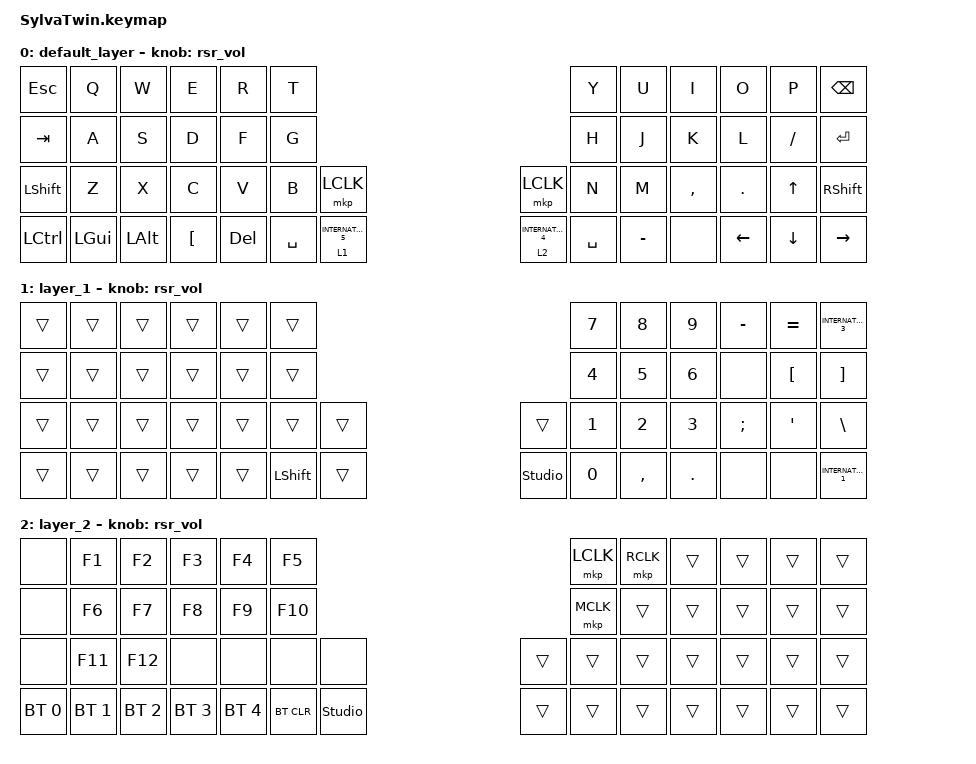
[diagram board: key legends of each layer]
/*
 * Copyright (c) 2020 The ZMK Contributors
 *
 * SPDX-License-Identifier: MIT
 */

#include <behaviors.dtsi>
#include <dt-bindings/zmk/bt.h>
#include <dt-bindings/zmk/keys.h>
#include <dt-bindings/zmk/pointing.h>
#include <input/processors/runtime-input-processor.dtsi>
#include <behaviors/runtime-sensor-rotate.dtsi>

/ {
    behaviors {
        rsr_vol: rsr_vol {
            compatible = "zmk,behavior-runtime-sensor-rotate";
            #sensor-binding-cells = <0>;
            tap-ms = <5>;
            cw-binding = <&kp C_VOL_UP>;
            ccw-binding = <&kp C_VOL_DN>;
        };
    };

    combos {
        compatible = "zmk,combos";

        prtsc {
            bindings = <&kp PRINTSCREEN>;
            key-positions = <10 11>;
        };

        RightClick {
            bindings = <&mkp RCLK>;
            key-positions = <30 44>;
        };

        MiddleClick {
            bindings = <&mkp MCLK>;
            key-positions = <29 43>;
        };

        RightClick2 {
            bindings = <&mkp RCLK>;
            key-positions = <31 45>;
        };

        MiddleClick2 {
            bindings = <&mkp MCLK>;
            key-positions = <32 46>;
        };

        zen-han {
            bindings = <&kp GRAVE>;
            key-positions = <0 1>;
        };

        paste {
            bindings = <&kp LC(V)>;
            key-positions = <42 28>;
        };

        copy {
            bindings = <&kp LC(C)>;
            key-positions = <41 27>;
        };

        cut {
            bindings = <&kp LC(X)>;
            key-positions = <40 26>;
        };

        prev_click {
            bindings = <&mkp MB4>;
            key-positions = <29 30>;
        };
    };

    keymap {
        compatible = "zmk,keymap";

        default_layer {
            bindings = <
&kp ESC     &kp Q     &kp W     &kp E     &kp R    &kp T                                                    &kp Y      &kp U      &kp I      &kp O     &kp P      &kp BSPC
&kp TAB     &kp A     &kp S     &kp D     &kp F    &kp G                                                    &kp H      &kp J      &kp K      &kp L     &kp SLASH  &kp ENTER
&kp LSHIFT  &kp Z     &kp X     &kp C     &kp V    &kp B      &mkp LCLK              &mkp LCLK              &kp N      &kp M      &kp COMMA  &kp DOT   &kp UP     &kp RSHIFT
&kp LCTRL   &kp LGUI  &kp LALT  &kp LBKT  &kp DEL  &kp SPACE  &lt 1 INTERNATIONAL_5  &lt 2 INTERNATIONAL_4  &kp SPACE  &kp MINUS  &none      &kp LEFT  &kp DOWN   &kp RIGHT
            >;

            sensor-bindings = <&rsr_vol>;
        };

        layer_1 {
            bindings = <
&trans  &trans  &trans  &trans  &trans  &trans                                  &kp NUMBER_7  &kp NUMBER_8  &kp NUMBER_9  &kp MINUS      &kp EQUAL         &kp INTERNATIONAL_3
&trans  &trans  &trans  &trans  &trans  &trans                                  &kp NUMBER_4  &kp NUMBER_5  &kp NUMBER_6  &none          &kp LEFT_BRACKET  &kp RIGHT_BRACKET
&trans  &trans  &trans  &trans  &trans  &trans          &trans  &trans          &kp NUMBER_1  &kp NUMBER_2  &kp NUMBER_3  &kp SEMICOLON  &kp SINGLE_QUOTE  &kp BSLH
&trans  &trans  &trans  &trans  &trans  &kp LEFT_SHIFT  &trans  &studio_unlock  &kp NUMBER_0  &kp COMMA     &kp DOT       &none          &none             &kp INTERNATIONAL_1
            >;

            sensor-bindings = <&rsr_vol>;
        };

        layer_2 {
            bindings = <
&none         &kp F1        &kp F2        &kp F3        &kp F4        &kp F5                              &mkp LCLK  &mkp RCLK  &trans  &trans  &trans  &trans
&none         &kp F6        &kp F7        &kp F8        &kp F9        &kp F10                             &mkp MCLK  &trans     &trans  &trans  &trans  &trans
&none         &kp F11       &kp F12       &none         &none         &none       &none           &trans  &trans     &trans     &trans  &trans  &trans  &trans
&bt BT_SEL 0  &bt BT_SEL 1  &bt BT_SEL 2  &bt BT_SEL 3  &bt BT_SEL 4  &bt BT_CLR  &studio_unlock  &trans  &trans     &trans     &trans  &trans  &trans  &trans
            >;

            sensor-bindings = <&rsr_vol>;
        };
    };
};
